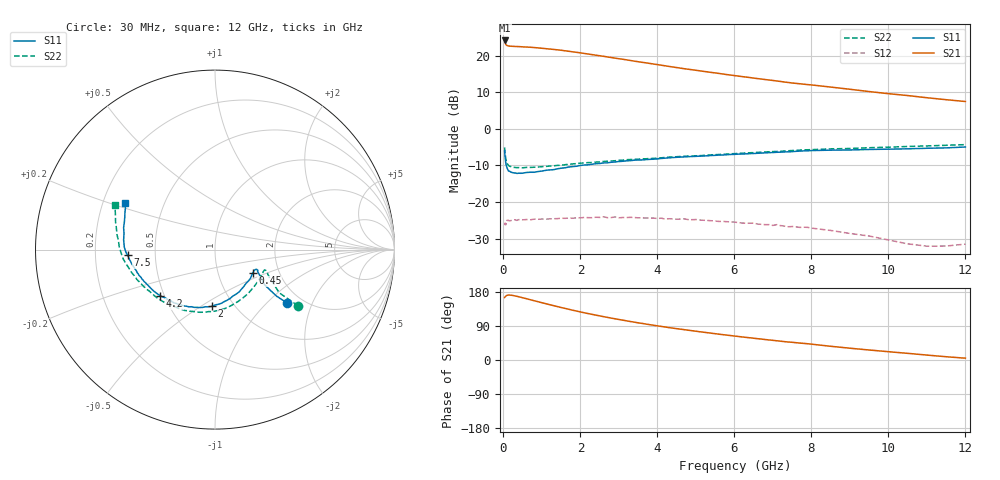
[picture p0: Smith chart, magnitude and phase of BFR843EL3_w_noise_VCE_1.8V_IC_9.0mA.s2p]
! Infineon Technologies  Discrete & RF Semiconductors
! BFR843EL3
! VCE =  1.8 V,  IC =  9.0 mA
! Common Emitter S-Parameters:  Aug 2013
# GHz  S  MA  R  50
!  f  S11  S21  S12  S22
! GHz  MAG  ANG  MAG  ANG  MAG  ANG  MAG  ANG
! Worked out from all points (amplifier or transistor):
!   103 points, 30 MHz to 12 GHz, reference 50 ohm
!   highest |S21| = 24.1 dB at 30 MHz (marker M1)
!   |S21| within 3 dB of that: start of sweep to 1.726 GHz
!   unconditionally stable (mu >= 1): 5.605 GHz to end of sweep
!   at 400 MHz: K = 0.99, MSG = 23.6 dB, |S12| = -24.8 dB
!   at 3.7 GHz: K = 0.85, MSG = 21.2 dB, |S12| = -24.4 dB
!   at 12 GHz: K = 3.35, MAG = 11.3 dB, |S12| = -31.5 dB
!   lowest NFmin = 0.88 dB at 450 MHz
!   S11 on the Smith chart (normalised r, x): 30 MHz: 1.68, -1.34; 450 MHz: 1.46, -0.41; 2 GHz: 0.79, -0.56; 4.2 GHz: 0.48, -0.29; 7.5 GHz: 0.34, -0.03; 12 GHz: 0.29, +0.22
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0.03  0.5022 -36.5  16.12 164.9  0.0484 32.4  0.5584 -34.1
0.04  0.4308 -37.1  15.22 166.1  0.0514 25.3  0.4792 -34.0
0.06  0.343 -35.5  14.27 168.5  0.049 18.3  0.3949 -31.6
0.1  0.2864 -29.7  13.72 170.9  0.0563 10.5  0.335 -26.3
0.15  0.2654 -25.8  13.5 171.5  0.0554 7.5  0.3105 -23.2
0.45  0.2474 -32.3  13.25 165.6  0.0578 2.5  0.2944 -28.1
0.8  0.2556 -47.4  12.89 156.3  0.0585 2.4  0.2993 -42.2
1.2  0.275 -65.1  12.31 146.0  0.059 1.8  0.3103 -58.9
1.5  0.2904 -76.8  11.85 138.5  0.0602 0.7  0.3197 -70.3
2  0.3164 -93.2  10.92 126.9  0.0609 -0.3  0.3398 -86.6
2.1  0.3211 -96.4  10.72 124.6  0.0617 -0.5  0.3425 -90.1
2.6  0.3425 -110.1  9.797 114.4  0.063 -2.8  0.3588 -103.2
3  0.358 -118.8  9.068 106.9  0.061 -4.3  0.372 -112.6
3.5  0.3761 -128.9  8.262 98.1  0.0609 -6.8  0.3854 -122.6
4.1  0.3946 -138.2  7.403 88.6  0.0604 -9.3  0.4024 -132.4
4.2  0.3981 -139.8  7.265 87.1  0.0585 -8.3  0.4072 -133.9
5.1  0.4239 -152.5  6.205 74.5  0.0569 -10.8  0.4308 -146.8
6.1  0.4521 -163.4  5.259 62.1  0.0524 -14.5  0.4631 -158.2
7.5  0.4884 -176.5  4.233 46.7  0.0464 -15.9  0.5062 -171.9
8.5  0.5119 173.9  3.723 36.2  0.041 -19.0  0.5328 178.9
10.5  0.534 160.3  2.851 17.6  0.0269 -3.9  0.5747 164.6
12  0.5653 152.8  2.365 4.8  0.0267 22.5  0.6093 156.2
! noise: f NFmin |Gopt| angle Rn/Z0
0.45  0.88  0.07  46  0.12
0.9  0.9  0.08  59  0.12
1.5  0.92  0.09  69  0.12
1.9  0.94  0.09  73  0.12
2.4  0.95  0.1  86  0.12
3.5  0.99  0.12  103  0.12
5.5  1.05  0.17  137  0.11
8  1.12  0.28  173  0.08
10  1.18  0.4  211  0.06
